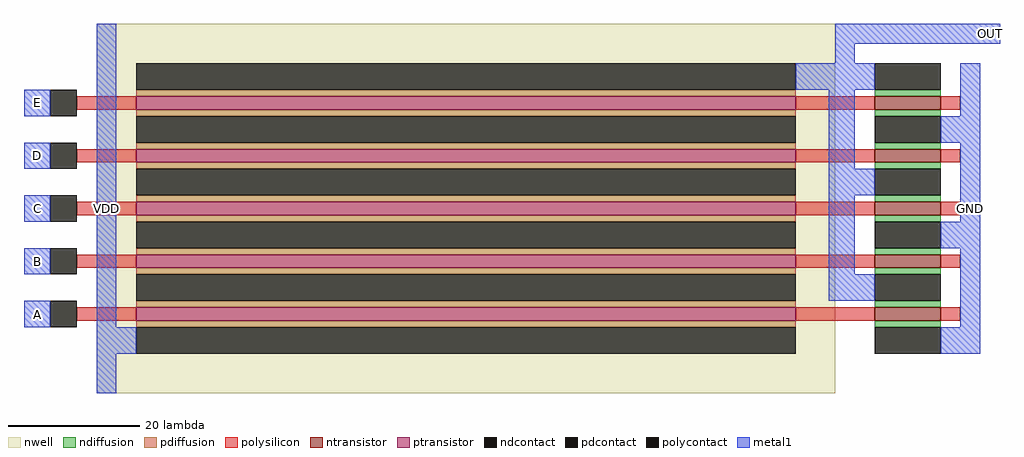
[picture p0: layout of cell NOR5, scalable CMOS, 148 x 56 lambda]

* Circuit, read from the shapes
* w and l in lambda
.subckt NOR5 A B C D E GND OUT VDD
M1 OUT A GND VSUBS nfet w=10 l=2
M2 GND B OUT VSUBS nfet w=10 l=2
M3 OUT C GND VSUBS nfet w=10 l=2
M4 GND D OUT VSUBS nfet w=10 l=2
M5 OUT E GND VSUBS nfet w=10 l=2
M6 n1 A VDD n2 pfet w=100 l=2
M7 n3 B n1 n2 pfet w=100 l=2
M8 n4 C n3 n2 pfet w=100 l=2
M9 n5 D n4 n2 pfet w=100 l=2
M10 OUT E n5 n2 pfet w=100 l=2
.ends

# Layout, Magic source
magic
tech scmos
<< nwell >>
rect 5 -9 117 47
<< polysilicon >>
rect 2 34 11 36
rect 111 34 123 36
rect 133 34 136 36
rect 2 26 11 28
rect 111 26 123 28
rect 133 26 136 28
rect 2 18 11 20
rect 111 18 123 20
rect 133 18 136 20
rect 2 10 11 12
rect 111 10 123 12
rect 133 10 136 12
rect 2 2 11 4
rect 111 2 123 4
rect 133 2 136 4
<< ndiffusion >>
rect 123 36 133 37
rect 123 33 133 34
rect 123 28 133 29
rect 123 25 133 26
rect 123 20 133 21
rect 123 17 133 18
rect 123 12 133 13
rect 123 9 133 10
rect 123 4 133 5
rect 123 1 133 2
<< pdiffusion >>
rect 11 36 111 37
rect 11 33 111 34
rect 11 28 111 29
rect 11 25 111 26
rect 11 20 111 21
rect 11 17 111 18
rect 11 12 111 13
rect 11 9 111 10
rect 11 4 111 5
rect 11 1 111 2
<< metal1 >>
rect -6 33 -2 37
rect -6 25 -2 29
rect -6 17 -2 21
rect -6 9 -2 13
rect -6 1 -2 5
rect 5 1 8 47
rect 117 44 142 47
rect 117 41 120 44
rect 111 37 123 41
rect 116 25 120 37
rect 136 33 139 41
rect 133 29 139 33
rect 116 21 123 25
rect 116 9 120 21
rect 136 17 139 29
rect 133 13 139 17
rect 116 5 123 9
rect 136 1 139 13
rect 5 -3 11 1
rect 133 -3 139 1
rect 5 -9 8 -3
<< ntransistor >>
rect 123 34 133 36
rect 123 26 133 28
rect 123 18 133 20
rect 123 10 133 12
rect 123 2 133 4
<< ptransistor >>
rect 11 34 111 36
rect 11 26 111 28
rect 11 18 111 20
rect 11 10 111 12
rect 11 2 111 4
<< polycontact >>
rect -2 33 2 37
rect -2 25 2 29
rect -2 17 2 21
rect -2 9 2 13
rect -2 1 2 5
<< ndcontact >>
rect 123 37 133 41
rect 123 29 133 33
rect 123 21 133 25
rect 123 13 133 17
rect 123 5 133 9
rect 123 -3 133 1
<< pdcontact >>
rect 11 37 111 41
rect 11 29 111 33
rect 11 21 111 25
rect 11 13 111 17
rect 11 5 111 9
rect 11 -3 111 1
<< labels >>
rlabel metal1 139 44 142 47 6 OUT
rlabel metal1 5 -9 8 47 7 VDD
rlabel metal1 -6 33 -2 37 3 E
rlabel metal1 -6 25 -2 29 3 D
rlabel metal1 -6 17 -2 21 3 C
rlabel metal1 -6 9 -2 13 3 B
rlabel metal1 -6 1 -2 5 3 A
rlabel metal1 136 -3 139 41 7 GND
<< end >>
